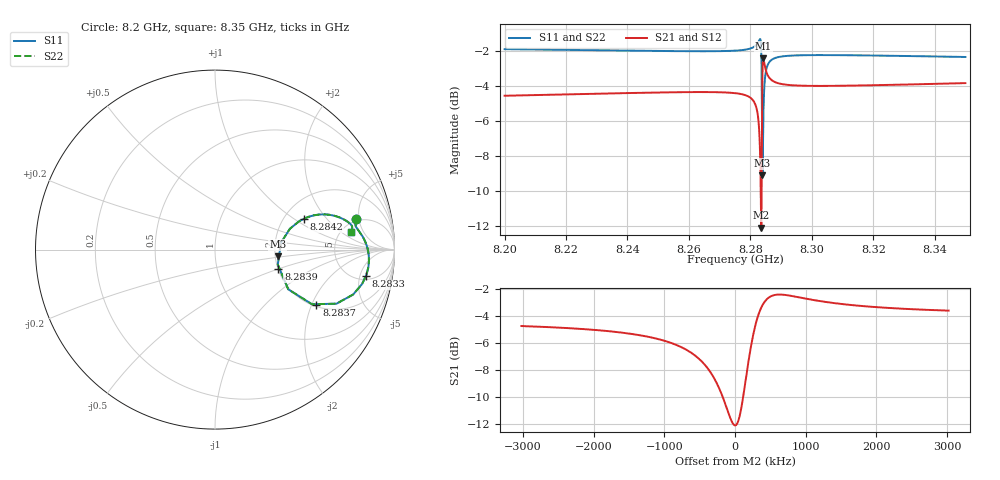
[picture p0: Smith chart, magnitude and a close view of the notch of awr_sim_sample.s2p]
! AWR Design Environment (17442) Wed Jun 28 13:17:59 2023
! Document = 'Symmetric Inductance'
! nPorts: 2, nXvals: 9376
# GHz S DB R 50
!Freq DBS11 AngS11 DBS21 AngS21 DBS12 AngS12 DBS22 AngS22
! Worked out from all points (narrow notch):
!   9376 points, 8.2 GHz to 8.35 GHz, reference 50 ohm
!   highest |S21| = -2.41 dB at 8.2842 GHz (marker M1); lowest = -12.1 dB at 8.2836 GHz (marker M2)
!   notch at M2: 7.7 dB deep, 505 kHz wide at half that depth
!   lowest |S11| = -9.1 dB at 8.2839 GHz (marker M3), VSWR 2.08, Z = 103 - j9 ohm
!   |S11| at or under -10 dB: nowhere
!   |S22| runs from -9.1 to -1.3 dB; largest |S21 - S12| = 0
!   S11 on the Smith chart (normalised r, x): 8.2 GHz: 4.77, +4.58; 8.2833 GHz: 5.74, -6.28; 8.2837 GHz: 2.05, -2.17; 8.2839 GHz: 2.01, -0.50; 8.2842 GHz: 2.54, +1.20; 8.35 GHz: 6.07, +2.92
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8.2  -1.88 12.1  -4.54 102.1  -4.54 102.1  -1.88 12.1
8.225008  -1.93 11.3  -4.44 101.3  -4.44 101.3  -1.93 11.3
8.25  -1.98 10.4  -4.36 100.4  -4.36 100.4  -1.98 10.4
8.275008  -1.97 8.9  -4.39 98.9  -4.39 98.9  -1.97 8.9
8.281472  -1.71 5.7  -4.98 96.3  -4.98 96.3  -1.71 5.7
8.282336  -1.55 3.3  -5.54 94.6  -5.54 94.6  -1.55 3.3
8.282816  -1.40 0.1  -6.36 93.2  -6.36 93.2  -1.40 0.1
8.28304  -1.33 -2.7  -7.15 92.7  -7.15 92.7  -1.33 -2.7
8.283344  -1.37 -10.0  -9.53 96.2  -9.53 96.2  -1.37 -10.0
8.283552  -2.03 -19.9  -12.08 122.4  -12.08 122.4  -2.03 -19.9
8.283696  -3.82 -28.7  -8.98 151.3  -8.98 151.3  -3.82 -28.7
8.283888  -8.66 -16.8  -3.83 144.5  -3.83 144.5  -8.66 -16.8
8.283936  -9.08 -6.2  -3.24 140.1  -3.24 140.1  -9.08 -6.2
8.284176  -6.26 18.4  -2.41 123.2  -2.41 123.2  -6.26 18.4
8.28424  -5.64 19.2  -2.42 120.5  -2.42 120.5  -5.64 19.2
8.284512  -4.15 18.4  -2.67 113.1  -2.67 113.1  -4.15 18.4
8.284832  -3.43 16.6  -2.95 108.9  -2.95 108.9  -3.43 16.6
8.285552  -2.82 14.1  -3.34 105.0  -3.34 105.0  -2.82 14.1
8.286944  -2.49 12.2  -3.65 102.5  -3.65 102.5  -2.49 12.2
8.3  -2.22 9.6  -3.98 99.6  -3.98 99.6  -2.22 9.6
8.325008  -2.26 8.5  -3.92 98.5  -3.92 98.5  -2.26 8.5
8.35  -2.33 7.5  -3.82 97.5  -3.82 97.5  -2.33 7.5
